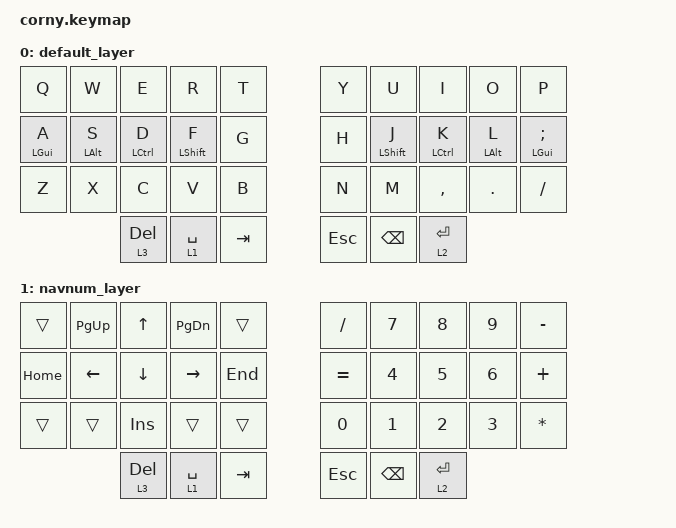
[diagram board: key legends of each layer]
#include <behaviors.dtsi>
#include <dt-bindings/zmk/keys.h>
#include <dt-bindings/zmk/bt.h>

/ {
    keymap {
        compatible = "zmk,keymap";

        default_layer {
            bindings = <
    &kp Q       &kp W       &kp E       &kp R       &kp T               &kp Y   &kp U       &kp I       &kp O       &kp P
    &mt LGUI A  &mt LALT S  &mt LCTRL D &mt LSHFT F &kp G               &kp H   &mt LSHFT J &mt LCTRL K &mt LALT L  &mt LGUI SEMI
    &kp Z       &kp X       &kp C       &kp V       &kp B               &kp N   &kp M       &kp COMMA   &kp DOT     &kp FSLH
                            &lt 3 DEL   &lt 1 SPACE &kp TAB             &kp ESC     &kp BSPC    &lt 2 RET
            >;

        };

        navnum_layer {
            bindings = <
    &trans      &kp PG_UP   &kp UP      &kp PG_DN   &trans                       &kp FSLH    &kp N7  &kp N8      &kp N9      &kp MINUS
    &kp HOME    &kp LEFT    &kp DOWN    &kp RIGHT   &kp END                      &kp EQUAL   &kp N4  &kp N5      &kp N6      &kp PLUS
    &trans      &trans      &kp INS     &trans      &trans                       &kp N0      &kp N1  &kp N2      &kp N3      &kp ASTERISK
                &lt 3 DEL   &lt 1 SPACE &kp TAB                              &kp ESC &kp BSPC    &lt 2 RET
            >;

        };




    };
};
